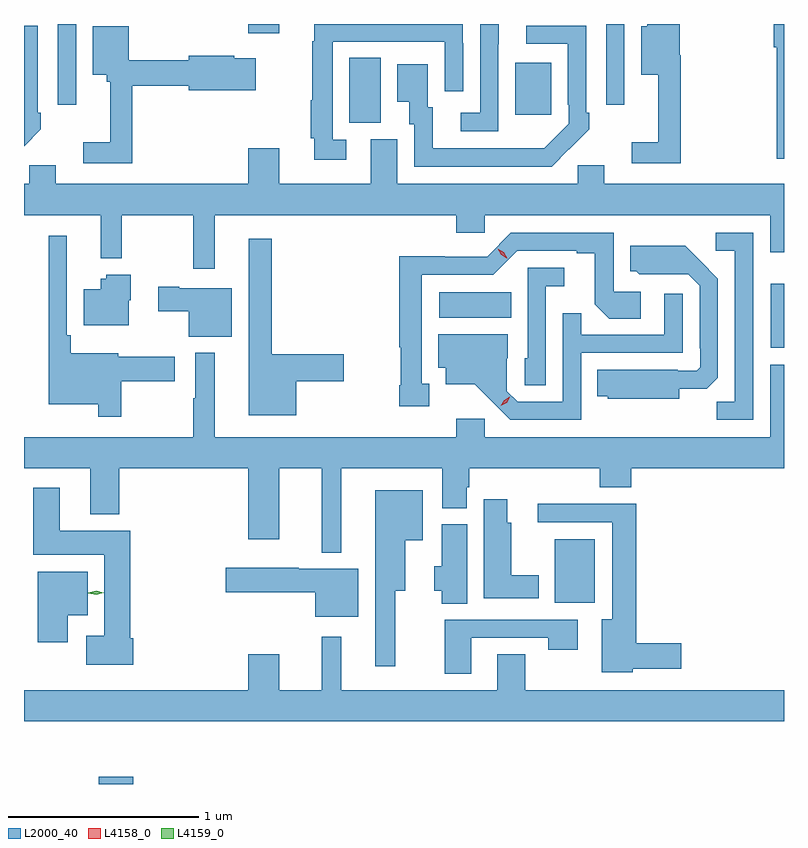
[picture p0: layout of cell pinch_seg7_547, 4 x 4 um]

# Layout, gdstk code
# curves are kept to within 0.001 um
import gdstk
lib = gdstk.Library(unit=1e-6, precision=1e-09)
def R(c, l, rs):  # rectangles x0, y0, x1, y1
    for r in rs: c.add(gdstk.rectangle(r[:2], r[2:], *l))
def P(c, l, *ps):  # polygons
    for p in ps: c.add(gdstk.Polygon(p, *l))
L2000_40 = (2000, 40)
L4158_0 = (4158, 0)
L4159_0 = (4159, 0)

pinch_seg7_547 = lib.new_cell('pinch_seg7_547')
R(pinch_seg7_547, L2000_40, [(128.258,1053.566,128.441,1053.604), (130.658,1054.52,130.87,1054.855), (131.795,1055.861,131.865,1056.199), (130.05,1056.02,130.43,1056.154), (129.578,1057.045,129.742,1057.388), (130.451,1057.089,130.639,1057.363), (128.043,1057.14,128.139,1057.566), (130.929,1057.14,131.025,1057.566), (129.044,1057.518,129.208,1057.566)])
P(pinch_seg7_547, L2000_40, [(129.562,1056.957),(129.489,1056.957),(129.489,1057.473),(130.08,1057.473),(130.08,1057.212),(130.176,1057.212),(130.176,1057.466),(130.175,1057.466),(130.175,1057.566),(129.392,1057.566),(129.392,1057.476),(129.381,1057.476),(129.381,1057.164),(129.373,1057.164),(129.373,1056.964),(129.392,1056.964),(129.392,1056.852),(129.562,1056.852)],
  [(131.321,1057.402),(131.315,1057.402),(131.315,1057.566),(131.144,1057.566),(131.144,1057.555),(131.114,1057.555),(131.114,1057.298),(131.204,1057.298),(131.204,1056.943),(131.064,1056.943),(131.064,1056.834),(131.321,1056.834)],
  [(130.362,1057.459),(130.363,1057.459),(130.363,1057.566),(130.266,1057.566),(130.266,1057.098),(130.164,1057.098),(130.164,1057.002),(130.362,1057.002)],
  [(131.865,1057.564),(131.81,1057.564),(131.81,1057.443),(131.828,1057.443),(131.828,1056.857),(131.865,1056.857)],
  [(127.953,1057.011),(127.953,1057.099),(127.938,1057.099),(127.938,1057.557),(127.865,1057.557),(127.865,1056.923)],
  [(130.733,1056.907),(130.734,1056.906),(130.839,1057.011),(130.839,1057.099),(130.824,1057.099),(130.824,1057.557),(130.509,1057.557),(130.509,1057.461),(130.728,1057.461),(130.728,1057.141),(130.731,1057.141),(130.731,1057.041),(130.603,1056.913),(130.015,1056.912),(130.015,1057.128),(129.991,1057.128),(129.991,1057.354),(129.83,1057.354),(129.83,1057.157),(129.893,1057.157),(129.893,1057.038),(129.918,1057.038),(129.918,1056.816),(130.642,1056.816)],
  [(128.435,1057.24),(128.732,1057.24),(128.732,1057.217),(129.085,1057.217),(129.085,1057.387),(128.972,1057.387),(128.972,1057.4),(128.732,1057.4),(128.732,1057.376),(128.416,1057.376),(128.416,1057.555),(128.228,1057.555),(128.228,1057.298),(128.3,1057.298),(128.3,1057.263),(128.318,1057.263),(128.318,1056.943),(128.178,1056.943),(128.178,1056.834),(128.435,1056.834)],
  [(128.869,1056.56),(130.139,1056.56),(130.139,1056.467),(130.29,1056.467),(130.29,1056.56),(131.792,1056.56),(131.792,1056.366),(131.865,1056.366),(131.865,1056.724),(130.918,1056.724),(130.918,1056.822),(130.779,1056.822),(130.779,1056.724),(129.829,1056.724),(129.829,1056.96),(129.689,1056.96),(129.689,1056.724),(129.208,1056.724),(129.208,1056.913),(129.044,1056.913),(129.044,1056.724),(128.032,1056.724),(128.032,1056.822),(127.893,1056.822),(127.893,1056.724),(127.865,1056.724),(127.865,1056.56),(128.27,1056.56),(128.27,1056.332),(128.38,1056.332),(128.38,1056.56),(128.755,1056.56),(128.755,1056.279),(128.869,1056.279)],
  [(129.997,1055.673),(129.958,1055.673),(129.958,1056.246),(130.335,1056.246),(130.461,1056.372),(130.775,1056.372),(130.775,1056.36),(130.869,1056.36),(130.869,1056.092),(130.945,1056.016),(131.11,1056.016),(131.11,1056.156),(130.968,1056.156),(130.968,1056.468),(130.428,1056.468),(130.302,1056.342),(130.08,1056.342),(130.08,1056.344),(129.84,1056.344),(129.84,1055.865),(129.847,1055.865),(129.847,1055.665),(129.84,1055.665),(129.84,1055.553),(129.997,1055.553)],
  [(131.703,1056.468),(131.505,1056.468),(131.505,1056.372),(131.607,1056.372),(131.607,1055.579),(131.512,1055.579),(131.512,1055.484),(131.703,1055.484)],
  [(128.377,1055.686),(128.659,1055.686),(128.659,1055.815),(128.361,1055.815),(128.361,1055.833),(128.111,1055.833),(128.111,1055.929),(128.091,1055.929),(128.091,1056.451),(127.994,1056.451),(127.994,1055.564),(128.256,1055.564),(128.256,1055.499),(128.377,1055.499)],
  [(129.298,1055.686),(129.547,1055.686),(129.547,1055.828),(129.169,1055.828),(129.169,1056.436),(129.047,1056.436),(129.047,1055.507),(129.298,1055.507)],
  [(131.314,1055.645),(131.458,1055.645),(131.517,1055.704),(131.517,1056.226),(131.345,1056.4),(131.057,1056.4),(131.057,1056.264),(131.088,1056.264),(131.104,1056.248),(131.361,1056.249),(131.421,1056.189),(131.421,1055.86),(131.424,1055.86),(131.424,1055.76),(131.406,1055.742),(131.306,1055.742),(131.306,1055.746),(130.882,1055.746),(130.882,1055.606),(130.938,1055.606),(130.938,1055.594),(131.314,1055.594)],
  [(130.611,1056.185),(130.708,1056.185),(130.708,1056.282),(130.515,1056.282),(130.515,1055.808),(130.5,1055.808),(130.5,1055.665),(130.611,1055.665)],
  [(128.416,1056.111),(128.428,1056.111),(128.428,1056.247),(128.298,1056.247),(128.298,1056.225),(128.27,1056.225),(128.27,1056.169),(128.18,1056.169),(128.18,1055.981),(128.416,1055.981)],
  [(128.959,1056.175),(128.683,1056.175),(128.683,1056.183),(128.571,1056.183),(128.571,1056.053),(128.732,1056.053),(128.732,1055.921),(128.959,1055.921)],
  [(130.797,1055.835),(131.331,1055.835),(131.331,1056.145),(131.235,1056.145),(131.235,1055.931),(130.799,1055.931),(130.799,1056.044),(130.701,1056.044),(130.701,1055.577),(130.464,1055.577),(130.407,1055.634),(130.407,1055.808),(130.411,1055.808),(130.411,1055.932),(130.046,1055.932),(130.046,1055.756),(130.085,1055.756),(130.085,1055.669),(130.237,1055.669),(130.424,1055.484),(130.797,1055.484)],
  [(129.535,1055.228),(130.067,1055.228),(130.067,1055.017),(130.195,1055.017),(130.195,1055.127),(130.208,1055.127),(130.208,1055.228),(130.895,1055.228),(130.895,1055.129),(131.06,1055.129),(131.06,1055.228),(131.865,1055.228),(131.865,1055.773),(131.792,1055.773),(131.792,1055.392),(130.29,1055.392),(130.29,1055.488),(130.139,1055.488),(130.139,1055.392),(128.869,1055.392),(128.869,1055.836),(128.765,1055.836),(128.765,1055.597),(128.755,1055.597),(128.755,1055.392),(127.865,1055.392),(127.865,1055.228),(128.213,1055.228),(128.213,1054.985),(128.366,1054.985),(128.366,1055.228),(129.044,1055.228),(129.044,1054.854),(129.208,1054.854),(129.208,1055.228),(129.431,1055.228),(129.431,1054.784),(129.535,1054.784)],
  [(128.441,1054.332),(128.423,1054.332),(128.423,1054.9),(128.053,1054.9),(128.053,1055.125),(127.913,1055.125),(127.913,1054.772),(128.288,1054.772),(128.288,1054.345),(128.193,1054.345),(128.193,1054.193),(128.441,1054.193)],
  [(129.82,1054.583),(129.871,1054.583),(129.871,1054.85),(129.964,1054.85),(129.964,1055.113),(129.713,1055.113),(129.713,1054.185),(129.82,1054.185)],
  [(130.573,1054.666),(130.429,1054.666),(130.429,1054.941),(130.408,1054.941),(130.408,1055.065),(130.286,1055.065),(130.286,1054.544),(130.573,1054.544)],
  [(131.07,1054.172),(131.323,1054.172),(131.323,1054.307),(131.087,1054.307),(131.087,1055.042),(130.569,1055.042),(130.569,1054.944),(130.961,1054.944),(130.961,1054.432),(130.907,1054.432),(130.907,1054.154),(131.07,1054.154)],
  [(130.198,1054.932),(130.064,1054.932),(130.064,1054.713),(130.025,1054.713),(130.025,1054.583),(130.064,1054.583),(130.064,1054.516),(130.198,1054.516)],
  [(129.625,1054.699),(129.312,1054.699),(129.312,1054.705),(128.928,1054.705),(128.928,1054.576),(129.398,1054.576),(129.398,1054.445),(129.625,1054.445)],
  [(128.095,1054.454),(128.2,1054.454),(128.2,1054.684),(127.937,1054.684),(127.937,1054.311),(128.095,1054.311)],
  [(130.219,1054.335),(130.624,1054.335),(130.624,1054.272),(130.78,1054.272),(130.78,1054.431),(130.079,1054.431),(130.079,1054.146),(130.219,1054.146)],
  [(131.865,1054.06),(130.503,1054.06),(130.503,1054.25),(130.355,1054.25),(130.355,1054.06),(129.535,1054.06),(129.535,1054.342),(129.431,1054.342),(129.431,1054.06),(129.208,1054.06),(129.208,1054.249),(129.044,1054.249),(129.044,1054.06),(127.865,1054.06),(127.865,1053.896),(131.865,1053.896)])
P(pinch_seg7_547, L4158_0, [(130.375,1055.556),(130.375,1055.557),(130.392,1055.587),(130.422,1055.603),(130.422,1055.603),(130.422,1055.602),(130.406,1055.572),(130.375,1055.556)],
  [(130.407,1056.332),(130.376,1056.351),(130.359,1056.384),(130.359,1056.384),(130.359,1056.384),(130.39,1056.365),(130.408,1056.332),(130.408,1056.332)])
P(pinch_seg7_547, L4159_0, [(128.245,1054.562),(128.204,1054.571),(128.204,1054.571),(128.204,1054.572),(128.245,1054.582),(128.285,1054.572),(128.285,1054.572),(128.285,1054.572)])

lib.write_gds('pinch_seg7_547.gds')
